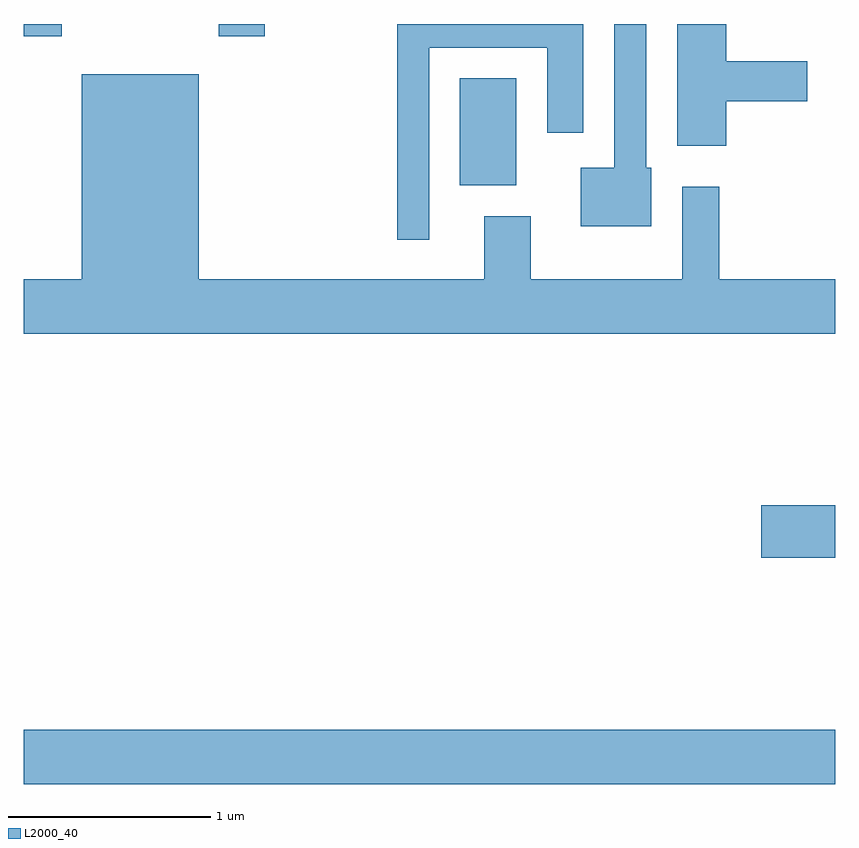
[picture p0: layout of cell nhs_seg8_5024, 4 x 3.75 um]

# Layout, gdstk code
import gdstk
lib = gdstk.Library(unit=1e-6, precision=1e-09)
def R(c, l, rs):  # rectangles x0, y0, x1, y1
    for r in rs: c.add(gdstk.rectangle(r[:2], r[2:], *l))
def P(c, l, *ps):  # polygons
    for p in ps: c.add(gdstk.Polygon(p, *l))
L2000_40 = (2000, 40)

nhs_seg8_5024 = lib.new_cell('nhs_seg8_5024')
R(nhs_seg8_5024, L2000_40, [(335.611,1878.596,339.611,1878.864), (339.246,1879.711,339.611,1879.969), (337.761,1881.546,338.039,1882.074), (335.611,1882.281,335.799,1882.342), (336.571,1882.281,336.799,1882.342)])
P(nhs_seg8_5024, L2000_40, [(338.704,1881.634),(338.679,1881.634),(338.679,1882.342),(338.521,1882.342),(338.521,1881.634),(338.356,1881.634),(338.356,1881.346),(338.704,1881.346)],
  [(339.074,1881.961),(339.474,1881.961),(339.474,1882.159),(339.074,1882.159),(339.074,1882.342),(338.831,1882.342),(338.831,1881.741),(339.074,1881.741)],
  [(337.609,1882.226),(338.191,1882.226),(338.191,1881.806),(338.369,1881.806),(338.369,1882.342),(337.451,1882.342),(337.451,1881.278),(337.609,1881.278)],
  [(339.611,1881.084),(339.039,1881.084),(339.039,1881.539),(338.856,1881.539),(338.856,1881.084),(338.109,1881.084),(338.109,1881.394),(337.881,1881.394),(337.881,1881.084),(336.474,1881.084),(336.474,1882.094),(335.896,1882.094),(335.896,1881.084),(335.611,1881.084),(335.611,1880.816),(339.611,1880.816)])

lib.write_gds('nhs_seg8_5024.gds')
